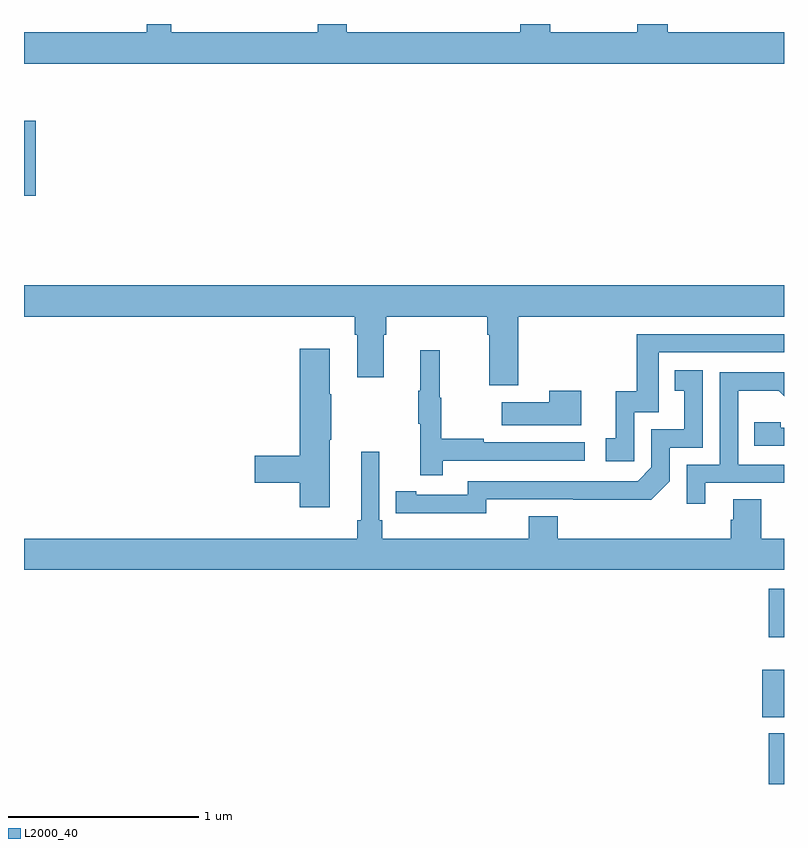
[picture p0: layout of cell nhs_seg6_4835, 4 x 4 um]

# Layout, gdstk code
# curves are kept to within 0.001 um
import gdstk
lib = gdstk.Library(unit=1e-6, precision=1e-09)
def R(c, l, rs):  # rectangles x0, y0, x1, y1
    for r in rs: c.add(gdstk.rectangle(r[:2], r[2:], *l))
def P(c, l, *ps):  # polygons
    for p in ps: c.add(gdstk.Polygon(p, *l))
L2000_40 = (2000, 40)

nhs_seg6_4835 = lib.new_cell('nhs_seg6_4835')
R(nhs_seg6_4835, L2000_40, [(400.921,987.5,401,987.766), (400.886,987.851,401,988.102), (400.92,988.272,401,988.528), (397,990.597,397.061,990.991)])
P(nhs_seg6_4835, L2000_40, [(401,991.456),(400.388,991.456),(400.388,991.5),(400.228,991.5),(400.228,991.456),(399.771,991.456),(399.771,991.5),(399.611,991.5),(399.611,991.456),(398.699,991.456),(398.699,991.5),(398.546,991.5),(398.546,991.456),(397.775,991.456),(397.775,991.5),(397.645,991.5),(397.645,991.456),(397,991.456),(397,991.292),(401,991.292)],
  [(399.602,989.96),(401,989.96),(401,990.124),(397,990.124),(397,989.96),(398.741,989.96),(398.741,989.864),(398.753,989.864),(398.753,989.64),(398.893,989.64),(398.893,989.864),(398.906,989.864),(398.906,989.96),(399.437,989.96),(399.437,989.864),(399.449,989.864),(399.449,989.598),(399.602,989.598)],
  [(400.212,989.457),(400.341,989.457),(400.341,989.772),(401,989.772),(401,989.868),(400.225,989.868),(400.225,989.566),(400.115,989.566),(400.115,989.319),(400.062,989.319),(400.062,989.199),(400.212,989.199)],
  [(398.608,989.311),(398.616,989.311),(398.616,989.552),(398.608,989.552),(398.608,989.791),(398.45,989.791),(398.45,989.228),(398.214,989.228),(398.214,989.086),(398.45,989.086),(398.45,988.956),(398.608,988.956)],
  [(399.203,989.202),(399.952,989.202),(399.952,989.298),(399.419,989.298),(399.419,989.318),(399.196,989.318),(399.196,989.532),(399.188,989.532),(399.188,989.782),(399.086,989.782),(399.086,989.569),(399.075,989.569),(399.075,989.395),(399.086,989.395),(399.086,989.124),(399.203,989.124)],
  [(399.432,988.998),(400.3,988.997),(400.398,989.094),(400.398,989.271),(400.572,989.271),(400.572,989.677),(400.426,989.677),(400.426,989.571),(400.475,989.571),(400.475,989.367),(400.302,989.367),(400.302,989.166),(400.23,989.094),(399.336,989.094),(399.336,989.022),(399.064,989.022),(399.064,989.042),(398.956,989.042),(398.956,988.926),(399.432,988.925)],
  [(400.585,989.085),(401,989.085),(401,989.181),(400.758,989.181),(400.758,989.57),(400.972,989.57),(401,989.542),(401,989.667),(400.662,989.667),(400.662,989.181),(400.488,989.181),(400.488,988.974),(400.585,988.974)],
  [(399.934,989.569),(399.764,989.569),(399.764,989.509),(399.515,989.509),(399.515,989.387),(399.934,989.387)],
  [(401,989.376),(400.983,989.376),(400.983,989.403),(400.843,989.403),(400.843,989.28),(401,989.28)],
  [(398.774,989.248),(398.774,988.888),(398.755,988.888),(398.755,988.792),(397,988.792),(397,988.628),(401,988.628),(401,988.792),(400.881,988.792),(400.881,989),(400.733,989),(400.733,988.89),(400.721,988.89),(400.721,988.792),(399.809,988.792),(399.809,988.909),(399.656,988.909),(399.656,988.792),(398.885,988.792),(398.885,988.888),(398.871,988.888),(398.871,989.248)])

lib.write_gds('nhs_seg6_4835.gds')
